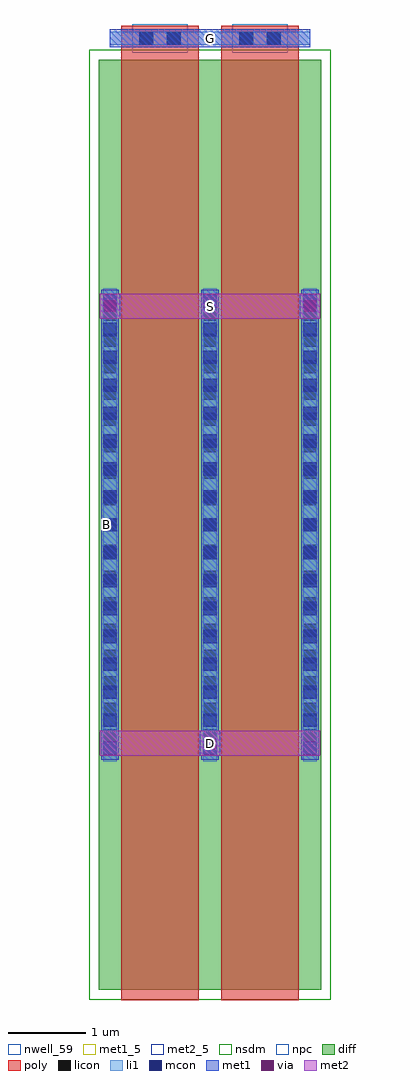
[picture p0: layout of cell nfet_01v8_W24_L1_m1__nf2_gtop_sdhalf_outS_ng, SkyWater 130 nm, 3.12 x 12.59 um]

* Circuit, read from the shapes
.subckt nfet_01v8_W24_L1_m1__nf2_gtop_sdhalf_outS_ng B D G S
XM1 D G S B sky130_fd_pr__nfet_01v8 w=12 l=1 m=2
.ends

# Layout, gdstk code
import gdstk
lib = gdstk.Library(unit=1e-6, precision=1e-09)
def R(c, l, rs):  # rectangles x0, y0, x1, y1
    for r in rs: c.add(gdstk.rectangle(r[:2], r[2:], *l))
def A(c, l, x, y, w, h, nx, ny, dx, dy):  # array of equal rectangles
    R(c, l, [(x+i*dx, y+j*dy, x+i*dx+w, y+j*dy+h) for i in range(nx) for j in range(ny)])
nwell_59 = (64, 59)
diff = (65, 20)
poly = (66, 20)
licon = (66, 44)
li1 = (67, 20)
mcon = (67, 44)
met1_5 = (68, 5)
met1 = (68, 20)
via = (68, 44)
met2_5 = (69, 5)
met2 = (69, 20)
nsdm = (93, 44)
npc = (95, 20)

sky130_fd_pr__nfet_01v8_ = lib.new_cell('sky130_fd_pr__nfet_01v8_SZQV28')
R(sky130_fd_pr__nfet_01v8_, diff, [(-1.435,-6.155,1.435,5.845)])
R(sky130_fd_pr__nfet_01v8_, poly, [(-1.145,-6.285,-0.145,6.285), (0.145,-6.285,1.145,6.285)])
A(sky130_fd_pr__nfet_01v8_, licon, -1.375, -2.96, 0.17, 0.17, 3, 17, 1.29, 0.34)
R(sky130_fd_pr__nfet_01v8_, licon, [(-0.9,6.035,-0.73,6.205), (-0.56,6.035,-0.39,6.205), (0.39,6.035,0.56,6.205), (0.73,6.035,0.9,6.205)])
A(sky130_fd_pr__nfet_01v8_, li1, -1.375, -3.205, 0.17, 6.1, 3, 1, 1.29, 0)
R(sky130_fd_pr__nfet_01v8_, li1, [(-1.29,6.035,1.29,6.205)])
A(sky130_fd_pr__nfet_01v8_, mcon, -1.375, -3.12, 0.17, 0.17, 3, 17, 1.29, 0.36)
R(sky130_fd_pr__nfet_01v8_, mcon, [(-0.91,6.035,-0.74,6.205), (-0.55,6.035,-0.38,6.205), (0.38,6.035,0.55,6.205), (0.74,6.035,0.91,6.205)])
A(sky130_fd_pr__nfet_01v8_, met1, -1.405, -3.185, 0.23, 6.06, 3, 1, 1.29, 0)
R(sky130_fd_pr__nfet_01v8_, met1, [(-1.125,6.005,-0.165,6.035), (0.165,6.005,1.125,6.035), (-1.29,6.035,1.29,6.205), (-1.125,6.205,-0.165,6.235), (0.165,6.205,1.125,6.235)])
R(sky130_fd_pr__nfet_01v8_, nsdm, [(-1.56,-6.28,1.56,5.97)])
R(sky130_fd_pr__nfet_01v8_, npc, [(-1,5.935,-0.29,6.305), (0.29,5.935,1,6.305)])
sky130_fd_pr__nfet_01v8_.add(gdstk.Label('D0', (-1.29,-0.155), layer=67, texttype=5))
sky130_fd_pr__nfet_01v8_.add(gdstk.Label('G', (0.645,6.12), layer=67, texttype=5))
sky130_fd_pr__nfet_01v8_.add(gdstk.Label('G', (-0.645,6.12), layer=67, texttype=5))
sky130_fd_pr__nfet_01v8_.add(gdstk.Label('S1', (0,-0.155), layer=67, texttype=5))

nfet_01v8_w24_l1_m1__nf2 = lib.new_cell('nfet_01v8_W24_L1_m1__nf2_gtop_sdhalf_outS_ng')
R(nfet_01v8_w24_l1_m1__nf2, nwell_59, [(0.05,6.08,0.15,6.18)])
R(nfet_01v8_w24_l1_m1__nf2, met1_5, [(0.145,12.29,2.725,12.52)])
R(nfet_01v8_w24_l1_m1__nf2, met1, [(1.305,3.15,1.565,3.47), (0.015,8.79,0.275,9.11), (2.595,8.79,2.855,9.11), (0.145,12.29,2.725,12.52)])
R(nfet_01v8_w24_l1_m1__nf2, via, [(1.36,3.235,1.51,3.385), (0.07,8.875,0.22,9.025), (2.65,8.875,2.8,9.025)])
R(nfet_01v8_w24_l1_m1__nf2, met2_5, [(0.01,3.15,2.86,3.47), (0.01,8.79,2.86,9.11)])
R(nfet_01v8_w24_l1_m1__nf2, met2, [(0.01,3.15,2.86,3.47), (0.01,8.79,2.86,9.11)])
nfet_01v8_w24_l1_m1__nf2.add(gdstk.Reference(sky130_fd_pr__nfet_01v8_, (1.435,6.285)))
nfet_01v8_w24_l1_m1__nf2.add(gdstk.Label('S', (1.435,8.95), layer=69, texttype=5))
nfet_01v8_w24_l1_m1__nf2.add(gdstk.Label('D', (1.435,3.31), layer=69, texttype=5))
nfet_01v8_w24_l1_m1__nf2.add(gdstk.Label('G', (1.435,12.405), layer=68, texttype=5))
nfet_01v8_w24_l1_m1__nf2.add(gdstk.Label('B', (0.1,6.13), layer=64, texttype=59))

lib.write_gds('nfet_01v8_W24_L1_m1__nf2_gtop_sdhalf_outS_ng.gds')
